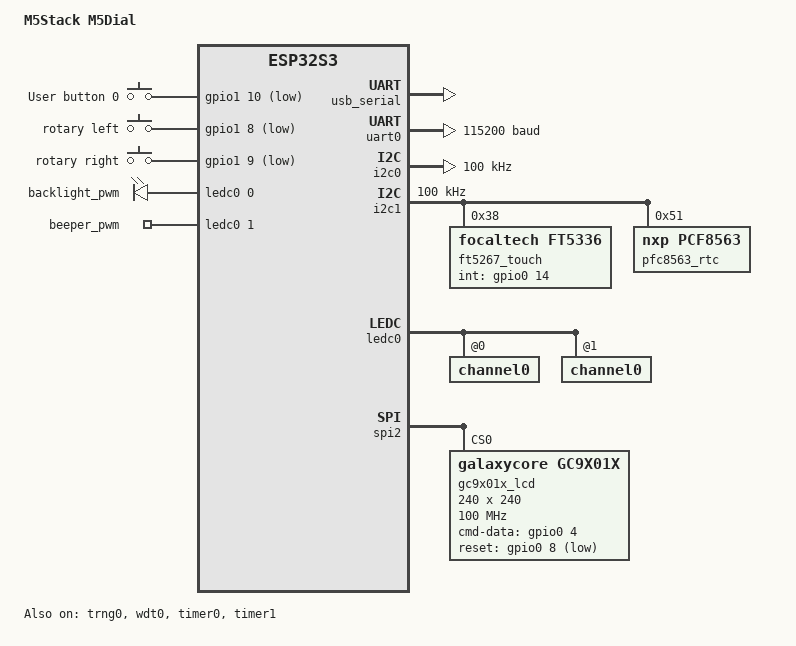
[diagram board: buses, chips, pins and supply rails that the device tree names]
/*
 * Copyright (c) 2023 Martin Kiepfer <mrmarteng@teleschirm.org>
 *
 * SPDX-License-Identifier: Apache-2.0
 */
/dts-v1/;

#include <espressif/esp32s3/esp32s3_fn8.dtsi>
#include "m5stack_m5dial-pinctrl.dtsi"
#include <zephyr/dt-bindings/pwm/pwm.h>
#include "grove_connectors.dtsi"
#include <zephyr/dt-bindings/input/input-event-codes.h>

/ {
	model = "M5Stack M5Dial";
	compatible = "m5stack,m5dial";

	chosen {
		zephyr,sram = &sram0;
		zephyr,console = &usb_serial;
		zephyr,shell-uart = &usb_serial;
		zephyr,flash = &flash0;
		zephyr,code-partition = &slot0_partition;
		zephyr,display = &gc9x01x_lcd;
		zephyr,rtc = &pfc8563_rtc;
	};

	aliases {
		sw0 = &user_button_0;
		watchdog0 = &wdt0;
		pwm-0 = &ledc0;
	};

	gpio_keys {
		compatible = "gpio-keys";

		/* This is the button that's underneath the LCD display  */
		user_button_0: button_0 {
			label = "User button 0";
			gpios = <&gpio1 10 GPIO_ACTIVE_LOW>;
			zephyr,code = <INPUT_KEY_0>;
		};

		rotary_left: rotary_left {
			label = "rotary left";
			gpios = <&gpio1 8 GPIO_ACTIVE_LOW>;
			zephyr,code = <INPUT_KEY_LEFT>;
		};

		rotary_right: rotary_right {
			label = "rotary right";
			gpios = <&gpio1 9 GPIO_ACTIVE_LOW>;
			zephyr,code = <INPUT_KEY_RIGHT>;
		};
	};

	pwmleds {
		compatible = "pwm-leds";
		backlight_pwm: backlight_pwm {
			pwms = <&ledc0 0 PWM_MSEC(10) PWM_POLARITY_NORMAL>;
		};
		beeper_pwm: beeper_pwm {
			pwms = <&ledc0 1 PWM_USEC(1500) PWM_POLARITY_NORMAL>;
		};
	};

	lvgl_pointer {
		compatible = "zephyr,lvgl-pointer-input";
		input = <&ft5267_touch>;
	};

};

&cpu0 {
	clock-frequency = <ESP32_CLK_CPU_240M>;
};

&cpu1 {
	clock-frequency = <ESP32_CLK_CPU_240M>;
};

&usb_serial {
	status = "okay";
};

&uart0 {
	status = "okay";
	current-speed = <115200>;
	pinctrl-0 = <&uart0_default>;
	pinctrl-names = "default";
};

&i2c0 {
	status = "okay";
	clock-frequency = <I2C_BITRATE_STANDARD>;
	pinctrl-0 = <&i2c0_default>;
	pinctrl-names = "default";
};

&i2c1 {
	status = "okay";
	clock-frequency = <I2C_BITRATE_STANDARD>;
	pinctrl-0 = <&i2c1_default>;
	pinctrl-names = "default";

	ft5267_touch: ft3267@38 {
		compatible = "focaltech,ft5336";
		reg = <0x38>;
		int-gpios = <&gpio0 14 0>;
	};

	pfc8563_rtc: pfc8563@51 {
		compatible = "nxp,pcf8563";
		reg = <0x51>;
		status = "okay";
	};
};

&trng0 {
	status = "okay";
};

&ledc0 {
	pinctrl-0 = <&ledc0_default>;
	pinctrl-names = "default";
	status = "okay";
	#address-cells = <1>;
	#size-cells = <0>;
	channel0@0 {
		reg = <0x0>;
		timer = <0>;
	};
	channel0@1 {
		reg = <0x1>;
		timer = <0>;
	};
};

&spi2 {
	#address-cells = <1>;
	#size-cells = <0>;
	status = "okay";
	pinctrl-0 = <&spim2_default>;
	pinctrl-names = "default";

	gc9x01x_lcd: gc9x01x_lcd@0 {
		compatible = "galaxycore,gc9x01x";
		reg = <0>;
		spi-max-frequency = <100000000>;
		cmd-data-gpios = <&gpio0 4 GPIO_ACTIVE_HIGH>;
		reset-gpios = <&gpio0 8 GPIO_ACTIVE_LOW>;
		backlight-pwm = <&backlight_pwm>;

		width = <240>;
		height = <240>;
	};

};

&gpio0 {
	status = "okay";
};

&gpio1 {
	status = "okay";
};

&wdt0 {
	status = "okay";
};

&timer0 {
	status = "okay";
};

&timer1 {
	status = "okay";
};

&flash0 {
	status = "okay";
	partitions {
		compatible = "fixed-partitions";
		#address-cells = <1>;
		#size-cells = <1>;

		boot_partition: partition@0 {
			label = "mcuboot";
			reg = <0x00000000 0x0000F000>;
			read-only;
		};

		slot0_partition: partition@10000 {
			label = "image-0";
			reg = <0x00010000 0x00100000>;
		};

		slot1_partition: partition@110000 {
			label = "image-1";
			reg = <0x00110000 0x00100000>;
		};

		scratch_partition: partition@210000 {
			label = "image-scratch";
			reg = <0x00210000 0x00040000>;
		};

		storage_partition: partition@250000 {
			label = "storage";
			reg = <0x00250000 0x00006000>;
		};
	};
};
